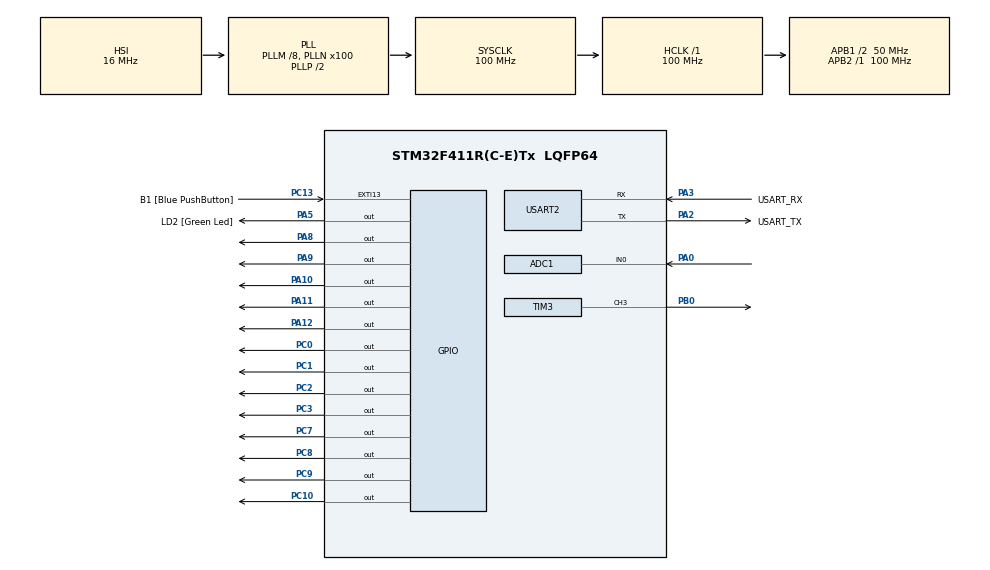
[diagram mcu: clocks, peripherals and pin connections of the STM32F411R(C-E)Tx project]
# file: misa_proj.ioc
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ADC1.Channel-0\#ChannelRegularConversion=ADC_CHANNEL_0
ADC1.NbrOfConversionFlag=1
ADC1.Rank-0\#ChannelRegularConversion=1
ADC1.SamplingTime-0\#ChannelRegularConversion=ADC_SAMPLETIME_3CYCLES
ADC1.master=1
Mcu.Family=STM32F4
Mcu.Name=STM32F411R(C-E)Tx
Mcu.Package=LQFP64
NVIC.PriorityGroup=NVIC_PRIORITYGROUP_0
PA0-WKUP.Signal=SharedAnalog_PA0
PA10.Signal=GPIO_Output
PA11.Signal=GPIO_Output
PA12.Signal=GPIO_Output
PA13.GPIO_Label=TMS
PA13.Mode=Serial_Wire
PA13.Signal=SYS_JTMS-SWDIO
PA14.GPIO_Label=TCK
PA14.Mode=Serial_Wire
PA14.Signal=SYS_JTCK-SWCLK
PA2.GPIO_Label=USART_TX
PA2.Mode=Asynchronous
PA2.Signal=USART2_TX
PA3.GPIO_Label=USART_RX
PA3.Mode=Asynchronous
PA3.Signal=USART2_RX
PA5.GPIO_Label=LD2 [Green Led]
PA5.Signal=GPIO_Output
PA8.Signal=GPIO_Output
PA9.Signal=GPIO_Output
PB0.Signal=S_TIM3_CH3
PB3.GPIO_Label=SWO
PB3.Signal=SYS_JTDO-SWO
PC0.Signal=GPIO_Output
PC1.Signal=GPIO_Output
PC10.Signal=GPIO_Output
PC13-ANTI_TAMP.GPIO_Label=B1 [Blue PushButton]
PC13-ANTI_TAMP.GPIO_ModeDefaultEXTI=GPIO_MODE_IT_FALLING
PC13-ANTI_TAMP.Signal=GPXTI13
PC14-OSC32_IN.Mode=LSE-External-Oscillator
PC14-OSC32_IN.Signal=RCC_OSC32_IN
PC15-OSC32_OUT.Mode=LSE-External-Oscillator
PC15-OSC32_OUT.Signal=RCC_OSC32_OUT
PC2.Signal=GPIO_Output
PC3.Signal=GPIO_Output
PC7.Signal=GPIO_Output
PC8.Signal=GPIO_Output
PC9.Signal=GPIO_Output
PH0\ -\ OSC_IN.Mode=HSE-External-Clock-Source
PH0\ -\ OSC_IN.Signal=RCC_OSC_IN
PH1\ -\ OSC_OUT.Mode=HSE-External-Clock-Source
PH1\ -\ OSC_OUT.Signal=RCC_OSC_OUT
ProjectManager.HeapSize=0x200
ProjectManager.StackSize=0x400
ProjectManager.TargetToolchain=STM32CubeIDE
RCC.48MHZClocksFreq_Value=50000000
RCC.AHBFreq_Value=100000000
RCC.APB1CLKDivider=RCC_HCLK_DIV2
RCC.APB1Freq_Value=50000000
RCC.APB1TimFreq_Value=100000000
RCC.APB2Freq_Value=100000000
RCC.APB2TimFreq_Value=100000000
RCC.CortexFreq_Value=100000000
RCC.FLatency-AdvancedSettings=FLASH_LATENCY_3
RCC.HCLKFreq_Value=100000000
RCC.HSE_VALUE=8000000
RCC.HSI_VALUE=16000000
RCC.PLLM=8
RCC.PLLN=100
RCC.SYSCLKFreq_VALUE=100000000
RCC.SYSCLKSource=RCC_SYSCLKSOURCE_PLLCLK
RCC.VCOOutputFreq_Value=200000000
SH.S_TIM3_CH3.0=TIM3_CH3,PWM Generation3 CH3
SH.SharedAnalog_PA0.0=GPIO_Analog
SH.SharedAnalog_PA0.1=ADC1_IN0,IN0
TIM3.AutoReloadPreload=TIM_AUTORELOAD_PRELOAD_ENABLE
TIM3.Channel-PWM\ Generation3\ CH3=TIM_CHANNEL_3
TIM3.Pulse-PWM\ Generation3\ CH3=50000
USART2.VirtualMode=VM_ASYNC
VP_TIM3_VS_ClockSourceINT.Mode=Internal
board=NUCLEO-F411RE

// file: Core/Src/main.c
/* USER CODE BEGIN Header */
/**
  ******************************************************************************
  * @file           : main.c
  * @brief          : Main program body
  ******************************************************************************
  * @attention
  *
  * Copyright (c) 2022 STMicroelectronics.
  * All rights reserved.
  *
  * This software is licensed under terms that can be found in the LICENSE file
  * in the root directory of this software component.
  * If no LICENSE file comes with this software, it is provided AS-IS.
  *
  ******************************************************************************
  */
/* USER CODE END Header */
#include "main.h"

 ADC_HandleTypeDef hadc1;

TIM_HandleTypeDef htim3;

UART_HandleTypeDef huart2;

/* USER CODE BEGIN PV */
uint16_t raw;
uint16_t Ntc_R;
int temp;
float Ntc_Tmp;
/* USER CODE END PV */

void SystemClock_Config(void);
static void MX_GPIO_Init(void);
static void MX_USART2_UART_Init(void);
static void MX_ADC1_Init(void);
static void MX_TIM3_Init(void);

/* USER CODE BEGIN 0 */
int counter = 0;
int temp1, temp2, temp3, temp4;

#define D1_HIGH() HAL_GPIO_WritePin(GPIOC, GPIO_PIN_0, 1)
#define D1_LOW() HAL_GPIO_WritePin(GPIOC, GPIO_PIN_0, 0)
#define D2_HIGH() HAL_GPIO_WritePin(GPIOC, GPIO_PIN_1, 1)
#define D2_LOW() HAL_GPIO_WritePin(GPIOC, GPIO_PIN_1, 0)
#define D3_HIGH() HAL_GPIO_WritePin(GPIOC, GPIO_PIN_2, 1)
#define D3_LOW() HAL_GPIO_WritePin(GPIOC, GPIO_PIN_2, 0)
#define D4_HIGH() HAL_GPIO_WritePin(GPIOC, GPIO_PIN_3, 1)
#define D4_LOW() HAL_GPIO_WritePin(GPIOC, GPIO_PIN_3, 0)

#define NTC_UP_R 10000.0f
#define A 0.00114202634588f
#define B 0.000232076963453f
#define C 0.000000095149924307f

uint8_t segN [10] = {
		0x3f,
		0x06,
		0x5b,
		0x4f,
		0x66,
		0x6d,
		0x7d,
		0x07,
		0x7f,
		0x67
};

void send2display(uint8_t n){
	HAL_GPIO_WritePin(GPIOA, GPIO_PIN_12, !(n & (1 << 0)));
	HAL_GPIO_WritePin(GPIOA, GPIO_PIN_11, !(n & (1 << 1)));
	HAL_GPIO_WritePin(GPIOA, GPIO_PIN_10, !(n & (1 << 2)));
	HAL_GPIO_WritePin(GPIOA, GPIO_PIN_9, !(n & (1 << 3)));
	HAL_GPIO_WritePin(GPIOA, GPIO_PIN_8, !(n & (1 << 4)));
	HAL_GPIO_WritePin(GPIOC, GPIO_PIN_9, !(n & (1 << 5)));
	HAL_GPIO_WritePin(GPIOC, GPIO_PIN_8, !(n & (1 << 6)));
	}

/* USER CODE END 0 */

int main(void)
{

  /* MCU Configuration--------------------------------------------------------*/

  /* Reset of all peripherals, Initializes the Flash interface and the Systick. */
  HAL_Init();

  /* Configure the system clock */
  SystemClock_Config();

  /* Initialize all configured peripherals */
  MX_GPIO_Init();
  MX_USART2_UART_Init();
  MX_ADC1_Init();
  MX_TIM3_Init();
  /* USER CODE BEGIN 2 */
  HAL_GPIO_WritePin(GPIOC, GPIO_PIN_7, 1);
  int negative = 0;

  /* USER CODE END 2 */

  /* Infinite loop */
  while (1)
  {

    /* USER CODE BEGIN 3 */
	  //key = read_keypad();
	  HAL_ADC_Start(&hadc1);
	  HAL_ADC_PollForConversion(&hadc1, HAL_MAX_DELAY);
	  raw = HAL_ADC_GetValue(&hadc1);

//	  D1_HIGH();
//	  D3_LOW();
//	  D2_LOW();
//	  D4_LOW();
//	  send2display(segN[key]);
//	  HAL_Delay(5);

	  if(counter % 50 == 0){

		  Ntc_R = ((NTC_UP_R) / ((4095.0 / raw) - 1));

		  /* temp */
		  float Ntc_Ln = log(Ntc_R);
		  /* calc. temperature */
		  Ntc_Tmp = (1.0 / (A + B*Ntc_Ln + C*Ntc_Ln*Ntc_Ln*Ntc_Ln)) - 273.15;

		  temp =(int) round(Ntc_Tmp);
		  if (temp < 0){
			  negative = 1;
			  temp *= -1;
		  }else{
			  negative = 0;
		  }

		  temp3 = ((temp/10)%10); //3 - 3rd digit
		  temp4 = (temp%10); //4 - 4th digit

	  }

	  if(temp > 25){
		  HAL_TIM_PWM_Start(&htim3, TIM_CHANNEL_3);

	  }else{
		  HAL_TIM_PWM_Stop(&htim3, TIM_CHANNEL_3);
	  }

	  if(temp > 30){
		  HAL_GPIO_WritePin(GPIOC, GPIO_PIN_10, 0);
		  HAL_Delay(1000);
		  HAL_GPIO_WritePin(GPIOC, GPIO_PIN_10, 1);
	  }else{
		  HAL_GPIO_WritePin(GPIOC, GPIO_PIN_10, 1);
	  }

	  if(negative == 1){
		  D2_HIGH();
		  D1_LOW();
		  D3_LOW();
		  D4_LOW();
		  send2display(0x40);
		  HAL_Delay(5);
	  }

	  D3_HIGH();
	  D1_LOW();
	  D2_LOW();
	  D4_LOW();
	  send2display(segN[temp3]);
	  HAL_Delay(5);

	  D4_HIGH();
	  D1_LOW();
	  D3_LOW();
	  D2_LOW();
	  send2display(segN[temp4]);
	  HAL_Delay(5);

	  counter++;

  }
  /* USER CODE END 3 */
}

void SystemClock_Config(void)
{
  RCC_OscInitTypeDef RCC_OscInitStruct = {0};
  RCC_ClkInitTypeDef RCC_ClkInitStruct = {0};

  /** Configure the main internal regulator output voltage
  */
  __HAL_RCC_PWR_CLK_ENABLE();
  __HAL_PWR_VOLTAGESCALING_CONFIG(PWR_REGULATOR_VOLTAGE_SCALE1);

  /** Initializes the RCC Oscillators according to the specified parameters
  * in the RCC_OscInitTypeDef structure.
  */
  RCC_OscInitStruct.OscillatorType = RCC_OSCILLATORTYPE_HSI;
  RCC_OscInitStruct.HSIState = RCC_HSI_ON;
  RCC_OscInitStruct.HSICalibrationValue = RCC_HSICALIBRATION_DEFAULT;
  RCC_OscInitStruct.PLL.PLLState = RCC_PLL_ON;
  RCC_OscInitStruct.PLL.PLLSource = RCC_PLLSOURCE_HSI;
  RCC_OscInitStruct.PLL.PLLM = 8;
  RCC_OscInitStruct.PLL.PLLN = 100;
  RCC_OscInitStruct.PLL.PLLP = RCC_PLLP_DIV2;
  RCC_OscInitStruct.PLL.PLLQ = 4;
  if (HAL_RCC_OscConfig(&RCC_OscInitStruct) != HAL_OK)
  {
    Error_Handler();
  }

  /** Initializes the CPU, AHB and APB buses clocks
  */
  RCC_ClkInitStruct.ClockType = RCC_CLOCKTYPE_HCLK|RCC_CLOCKTYPE_SYSCLK
                              |RCC_CLOCKTYPE_PCLK1|RCC_CLOCKTYPE_PCLK2;
  RCC_ClkInitStruct.SYSCLKSource = RCC_SYSCLKSOURCE_PLLCLK;
  RCC_ClkInitStruct.AHBCLKDivider = RCC_SYSCLK_DIV1;
  RCC_ClkInitStruct.APB1CLKDivider = RCC_HCLK_DIV2;
  RCC_ClkInitStruct.APB2CLKDivider = RCC_HCLK_DIV1;

  if (HAL_RCC_ClockConfig(&RCC_ClkInitStruct, FLASH_LATENCY_3) != HAL_OK)
  {
    Error_Handler();
  }
}

static void MX_ADC1_Init(void)
{

  ADC_ChannelConfTypeDef sConfig = {0};

  /** Configure the global features of the ADC (Clock, Resolution, Data Alignment and number of conversion)
  */
  hadc1.Instance = ADC1;
  hadc1.Init.ClockPrescaler = ADC_CLOCK_SYNC_PCLK_DIV4;
  hadc1.Init.Resolution = ADC_RESOLUTION_12B;
  hadc1.Init.ScanConvMode = DISABLE;
  hadc1.Init.ContinuousConvMode = DISABLE;
  hadc1.Init.DiscontinuousConvMode = DISABLE;
  hadc1.Init.ExternalTrigConvEdge = ADC_EXTERNALTRIGCONVEDGE_NONE;
  hadc1.Init.ExternalTrigConv = ADC_SOFTWARE_START;
  hadc1.Init.DataAlign = ADC_DATAALIGN_RIGHT;
  hadc1.Init.NbrOfConversion = 1;
  hadc1.Init.DMAContinuousRequests = DISABLE;
  hadc1.Init.EOCSelection = ADC_EOC_SINGLE_CONV;
  if (HAL_ADC_Init(&hadc1) != HAL_OK)
  {
    Error_Handler();
  }

  /** Configure for the selected ADC regular channel its corresponding rank in the sequencer and its sample time.
  */
  sConfig.Channel = ADC_CHANNEL_0;
  sConfig.Rank = 1;
  sConfig.SamplingTime = ADC_SAMPLETIME_3CYCLES;
  if (HAL_ADC_ConfigChannel(&hadc1, &sConfig) != HAL_OK)
  {
    Error_Handler();
  }

}

static void MX_TIM3_Init(void)
{

  TIM_ClockConfigTypeDef sClockSourceConfig = {0};
  TIM_MasterConfigTypeDef sMasterConfig = {0};
  TIM_OC_InitTypeDef sConfigOC = {0};

  htim3.Instance = TIM3;
  htim3.Init.Prescaler = 0;
  htim3.Init.CounterMode = TIM_COUNTERMODE_UP;
  htim3.Init.Period = 65535;
  htim3.Init.ClockDivision = TIM_CLOCKDIVISION_DIV1;
  htim3.Init.AutoReloadPreload = TIM_AUTORELOAD_PRELOAD_ENABLE;
  if (HAL_TIM_Base_Init(&htim3) != HAL_OK)
  {
    Error_Handler();
  }
  sClockSourceConfig.ClockSource = TIM_CLOCKSOURCE_INTERNAL;
  if (HAL_TIM_ConfigClockSource(&htim3, &sClockSourceConfig) != HAL_OK)
  {
    Error_Handler();
  }
  if (HAL_TIM_PWM_Init(&htim3) != HAL_OK)
  {
    Error_Handler();
  }
  sMasterConfig.MasterOutputTrigger = TIM_TRGO_RESET;
  sMasterConfig.MasterSlaveMode = TIM_MASTERSLAVEMODE_DISABLE;
  if (HAL_TIMEx_MasterConfigSynchronization(&htim3, &sMasterConfig) != HAL_OK)
  {
    Error_Handler();
  }
  sConfigOC.OCMode = TIM_OCMODE_PWM1;
  sConfigOC.Pulse = 50000;
  sConfigOC.OCPolarity = TIM_OCPOLARITY_HIGH;
  sConfigOC.OCFastMode = TIM_OCFAST_DISABLE;
  if (HAL_TIM_PWM_ConfigChannel(&htim3, &sConfigOC, TIM_CHANNEL_3) != HAL_OK)
  {
    Error_Handler();
  }
  HAL_TIM_MspPostInit(&htim3);

}

static void MX_USART2_UART_Init(void)
{

  huart2.Instance = USART2;
  huart2.Init.BaudRate = 115200;
  huart2.Init.WordLength = UART_WORDLENGTH_8B;
  huart2.Init.StopBits = UART_STOPBITS_1;
  huart2.Init.Parity = UART_PARITY_NONE;
  huart2.Init.Mode = UART_MODE_TX_RX;
  huart2.Init.HwFlowCtl = UART_HWCONTROL_NONE;
  huart2.Init.OverSampling = UART_OVERSAMPLING_16;
  if (HAL_UART_Init(&huart2) != HAL_OK)
  {
    Error_Handler();
  }

}

static void MX_GPIO_Init(void)
{
  GPIO_InitTypeDef GPIO_InitStruct = {0};

  /* GPIO Ports Clock Enable */
  __HAL_RCC_GPIOC_CLK_ENABLE();
  __HAL_RCC_GPIOH_CLK_ENABLE();
  __HAL_RCC_GPIOA_CLK_ENABLE();
  __HAL_RCC_GPIOB_CLK_ENABLE();

  /*Configure GPIO pin Output Level */
  HAL_GPIO_WritePin(GPIOC, GPIO_PIN_0|GPIO_PIN_1|GPIO_PIN_2|GPIO_PIN_3
                          |GPIO_PIN_7|GPIO_PIN_8|GPIO_PIN_9|GPIO_PIN_10, GPIO_PIN_RESET);

  /*Configure GPIO pin Output Level */
  HAL_GPIO_WritePin(GPIOA, LD2_Pin|GPIO_PIN_8|GPIO_PIN_9|GPIO_PIN_10
                          |GPIO_PIN_11|GPIO_PIN_12, GPIO_PIN_RESET);

  /*Configure GPIO pin : B1_Pin */
  GPIO_InitStruct.Pin = B1_Pin;
  GPIO_InitStruct.Mode = GPIO_MODE_IT_FALLING;
  GPIO_InitStruct.Pull = GPIO_NOPULL;
  HAL_GPIO_Init(B1_GPIO_Port, &GPIO_InitStruct);

  /*Configure GPIO pins : PC0 PC1 PC2 PC3
                           PC7 PC8 PC9 PC10 */
  GPIO_InitStruct.Pin = GPIO_PIN_0|GPIO_PIN_1|GPIO_PIN_2|GPIO_PIN_3
                          |GPIO_PIN_7|GPIO_PIN_8|GPIO_PIN_9|GPIO_PIN_10;
  GPIO_InitStruct.Mode = GPIO_MODE_OUTPUT_PP;
  GPIO_InitStruct.Pull = GPIO_NOPULL;
  GPIO_InitStruct.Speed = GPIO_SPEED_FREQ_LOW;
  HAL_GPIO_Init(GPIOC, &GPIO_InitStruct);

  /*Configure GPIO pins : LD2_Pin PA8 PA9 PA10
                           PA11 PA12 */
  GPIO_InitStruct.Pin = LD2_Pin|GPIO_PIN_8|GPIO_PIN_9|GPIO_PIN_10
                          |GPIO_PIN_11|GPIO_PIN_12;
  GPIO_InitStruct.Mode = GPIO_MODE_OUTPUT_PP;
  GPIO_InitStruct.Pull = GPIO_NOPULL;
  GPIO_InitStruct.Speed = GPIO_SPEED_FREQ_LOW;
  HAL_GPIO_Init(GPIOA, &GPIO_InitStruct);

}

void Error_Handler(void)
{
  __disable_irq();
  while (1)
  {
  }
}
